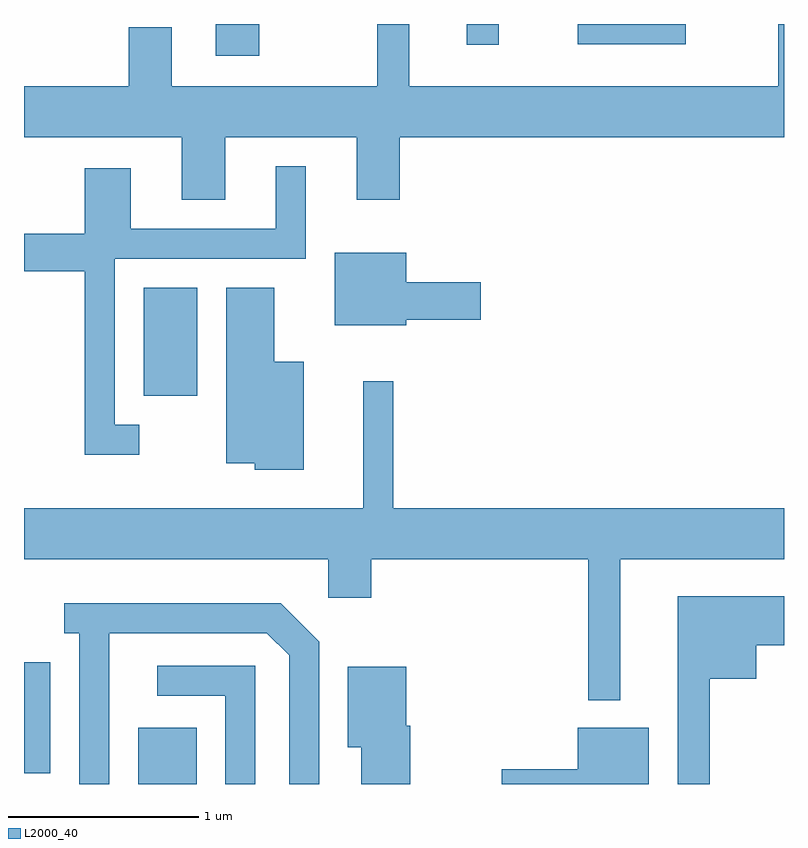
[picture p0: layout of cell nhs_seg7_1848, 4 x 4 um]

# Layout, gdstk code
import gdstk
lib = gdstk.Library(unit=1e-6, precision=1e-09)
def R(c, l, rs):  # rectangles x0, y0, x1, y1
    for r in rs: c.add(gdstk.rectangle(r[:2], r[2:], *l))
def P(c, l, *ps):  # polygons
    for p in ps: c.add(gdstk.Polygon(p, *l))
L2000_40 = (2000, 40)

nhs_seg7_1848 = lib.new_cell('nhs_seg7_1848')
R(nhs_seg7_1848, L2000_40, [(242.211,1704.252,242.519,1704.549), (241.611,1704.308,241.749,1704.894), (242.241,1706.296,242.524,1706.864), (242.621,1708.086,242.849,1708.252), (243.941,1708.143,244.109,1708.252), (244.526,1708.146,245.094,1708.252)])
P(nhs_seg7_1848, L2000_40, [(242.669,1707.656),(243.361,1707.656),(243.361,1707.326),(243.589,1707.326),(243.589,1707.656),(245.611,1707.656),(245.611,1708.252),(245.581,1708.252),(245.581,1707.924),(243.639,1707.924),(243.639,1708.252),(243.471,1708.252),(243.471,1707.924),(242.389,1707.924),(242.389,1708.234),(242.161,1708.234),(242.161,1707.924),(241.611,1707.924),(241.611,1707.656),(242.441,1707.656),(242.441,1707.326),(242.669,1707.326)],
  [(242.218,1706.144),(242.089,1706.144),(242.089,1707.016),(243.094,1707.016),(243.094,1707.503),(242.936,1707.503),(242.936,1707.174),(242.174,1707.174),(242.174,1707.494),(241.931,1707.494),(241.931,1707.149),(241.611,1707.149),(241.611,1706.951),(241.931,1706.951),(241.931,1705.986),(242.218,1705.986)],
  [(243.624,1706.696),(244.014,1706.696),(244.014,1706.894),(243.624,1706.894),(243.624,1707.049),(243.246,1707.049),(243.246,1706.666),(243.624,1706.666)],
  [(243.084,1706.474),(242.929,1706.474),(242.929,1706.864),(242.676,1706.864),(242.676,1705.941),(242.826,1705.941),(242.826,1705.906),(243.084,1705.906)],
  [(244.749,1705.436),(245.611,1705.436),(245.611,1705.704),(243.554,1705.704),(243.554,1706.373),(243.396,1706.373),(243.396,1705.704),(241.611,1705.704),(241.611,1705.436),(243.211,1705.436),(243.211,1705.231),(243.439,1705.231),(243.439,1705.436),(244.581,1705.436),(244.581,1704.693),(244.749,1704.693)],
  [(245.219,1704.806),(245.464,1704.806),(245.464,1704.981),(245.611,1704.981),(245.611,1705.239),(245.051,1705.239),(245.051,1704.252),(245.219,1704.252)],
  [(242.059,1705.046),(242.889,1705.046),(243.006,1704.929),(243.006,1704.252),(243.164,1704.252),(243.164,1705.002),(242.962,1705.204),(241.823,1705.204),(241.823,1705.046),(241.901,1705.046),(241.901,1704.252),(242.059,1704.252)],
  [(242.829,1704.874),(242.313,1704.874),(242.313,1704.716),(242.671,1704.716),(242.671,1704.252),(242.829,1704.252)],
  [(243.644,1704.559),(243.624,1704.559),(243.624,1704.869),(243.316,1704.869),(243.316,1704.446),(243.386,1704.446),(243.386,1704.252),(243.644,1704.252)],
  [(244.899,1704.549),(244.526,1704.549),(244.526,1704.329),(244.126,1704.329),(244.126,1704.252),(244.899,1704.252)])

lib.write_gds('nhs_seg7_1848.gds')
